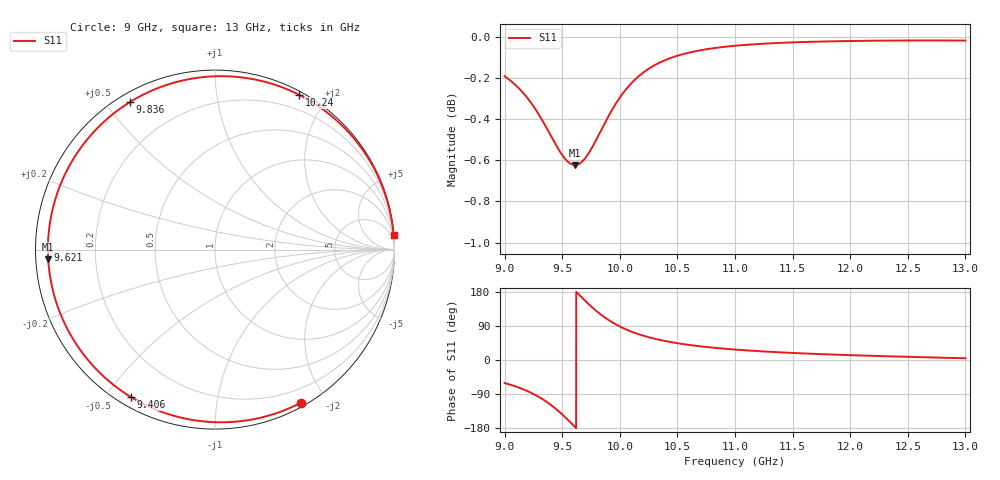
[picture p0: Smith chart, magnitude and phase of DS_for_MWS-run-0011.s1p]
! TOUCHSTONE file generated by CST DESIGN STUDIO
! Date and time: Tue Feb  4 14:13:33 2025
! Project name: C:\Work\MatlabApps\UnitCellOptimizationMatlab\CST\unitcell.cst
! Tree item: Tasks\Sweep1\SPara1\S-Parameters
! Header version: 2024
! Port assignment regex: !\s*Touchstone port\s*([0-9]+)\s*=\s*(CST MWS port|CST DES external port|CST DES block port)\s*(.+)\s* \(\"(.*)\"\)(\s*mode\s*([0-9]+))?.*
! Touchstone port assignment:
! Touchstone port 1 = CST DES external port 1 ("")
# GHz S MA R 50
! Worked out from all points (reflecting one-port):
!   4001 points, 9 GHz to 13 GHz, reference 50 ohm
!   lowest |S11| = -0.6 dB at 9.611 GHz (marker M1), VSWR 27.90, Z = 1.79 - j1.42 ohm
!   phase of S11 starts at -61 deg and turns -295 deg over the sweep
!   S11 on the Smith chart (normalised r, x): 9 GHz: 0.04, -1.71; 9.406 GHz: 0.04, -0.58; 9.621 GHz: 0.04, -0.00; 9.836 GHz: 0.04, +0.58; 10.24 GHz: 0.04, +1.68; 13 GHz: 1, +25
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9  0.9782 -60.7
9.055  0.9756 -65.6
9.127  0.9714 -73.1
9.19  0.967 -80.9
9.252  0.9618 -89.9
9.334  0.9536 -104.2
9.406  0.9457 -119.6
9.453  0.9405 -131.1
9.5  0.936 -143.7
9.558  0.9321 -160.6
9.611  0.9308 -176.7
9.621  0.9308 -179.8
9.666  0.9322 166.3
9.713  0.9354 152.3
9.775  0.9417 135.0
9.836  0.9489 119.9
9.912  0.9577 103.7
10  0.9666 88.5
10.113  0.9752 73.5
10.236  0.9817 61.4
10.358  0.9861 52.4
10.5  0.9895 44.3
10.72  0.9928 35.4
11  0.995 27.6
11.5  0.9969 18.6
12  0.9977 12.8
12.5  0.998 8.3
13  0.9979 4.5
